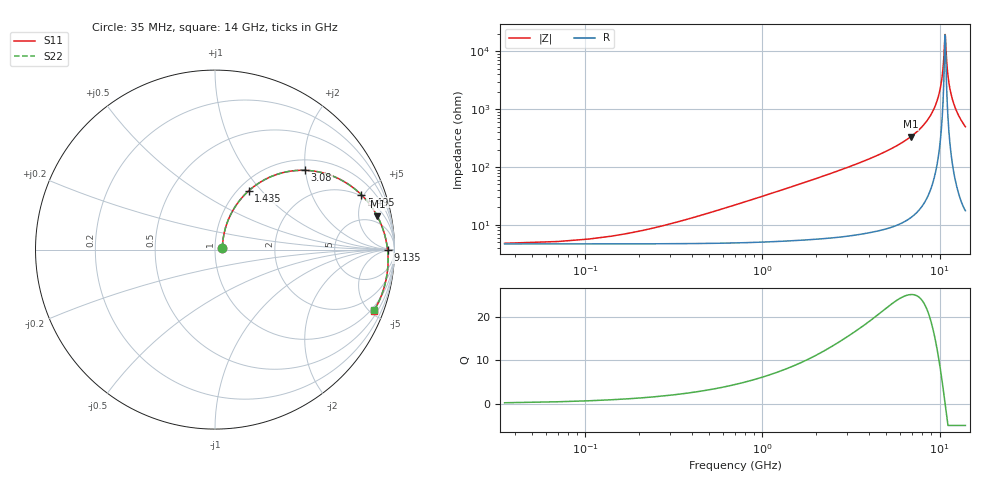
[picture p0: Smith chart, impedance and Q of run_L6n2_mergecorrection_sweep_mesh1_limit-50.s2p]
#  Hz  S  RI  R  50
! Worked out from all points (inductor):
!   400 points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, 35 MHz to 14 GHz, reference 50 ohm
!   read as one part in series: L = 4.87 nH near 490 MHz
!   highest Q = 25.2 at 6.895 GHz (marker M1), where L = 7.76 nH
!   self-resonance near 10.74 GHz
!   S11 on the Smith chart (normalised r, x): 35 MHz: 1.09, +0.02; 1.435 GHz: 1.12, +0.85; 3.08 GHz: 1.25, +1.99; 5.495 GHz: 1.89, +4.78; 9.135 GHz: 51, -5; 14 GHz: 0.78, -5.29
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3.5e7  0.0414 0.00933  0.9519 -0.0103  0.9519 -0.0103  0.0414 0.00933
3.5e8  0.0511 0.0924  0.9409 -0.1018  0.9409 -0.1018  0.0512 0.0924
5.95e8  0.0693 0.1541  0.9205 -0.1693  0.9205 -0.1693  0.0693 0.1541
1.435e9  0.1867 0.3264  0.7938 -0.3538  0.7938 -0.3538  0.1866 0.3263
2.38e9  0.3684 0.4261  0.6076 -0.4608  0.6076 -0.4608  0.3683 0.4261
3.08e9  0.5011 0.4419  0.4744 -0.4834  0.4744 -0.4834  0.501 0.4418
4.69e9  0.736 0.3687  0.2373 -0.4284  0.2373 -0.4284  0.7359 0.3687
5.495e9  0.8149 0.3061  0.1574 -0.3745  0.1574 -0.3745  0.8148 0.306
6.895e9  0.9048 0.1854  0.0659 -0.2698  0.0659 -0.2698  0.9048 0.1853
7.035e9  0.9111 0.1731  0.0594 -0.2592  0.0594 -0.2592  0.911 0.1731
9.135e9  0.9617 -0.00398  0.00564 -0.1062  0.00564 -0.1062  0.9616 -0.004
9.345e9  0.9632 -0.0208  0.00386 -0.0919  0.00386 -0.0919  0.9631 -0.0208
9.905e9  0.9644 -0.0647  0.00168 -0.0546  0.00168 -0.0546  0.9644 -0.0647
1.029e10  0.9632 -0.0941  0.00218 -0.0298  0.00218 -0.0298  0.9632 -0.0941
1.0535e10  0.9616 -0.1124  0.00327 -0.0144  0.00327 -0.0144  0.9616 -0.1124
1.0745e10  0.9598 -0.1278  0.00468 -0.00144  0.00468 -0.00144  0.9597 -0.1278
1.078e10  0.9594 -0.1304  0.00495 0.000703  0.00495 0.000703  0.9594 -0.1304
1.099e10  0.9571 -0.1455  0.00684 0.0134  0.00684 0.0134  0.9571 -0.1455
1.113e10  0.9554 -0.1555  0.00831 0.0218  0.00831 0.0218  0.9553 -0.1555
1.169e10  0.9468 -0.1944  0.0159 0.0542  0.0159 0.0542  0.9467 -0.1944
1.26e10  0.9277 -0.2547  0.0334 0.1035  0.0334 0.1035  0.9277 -0.2546
1.4e10  0.8856 -0.3393  0.0714 0.1713  0.0714 0.1713  0.8856 -0.3393
